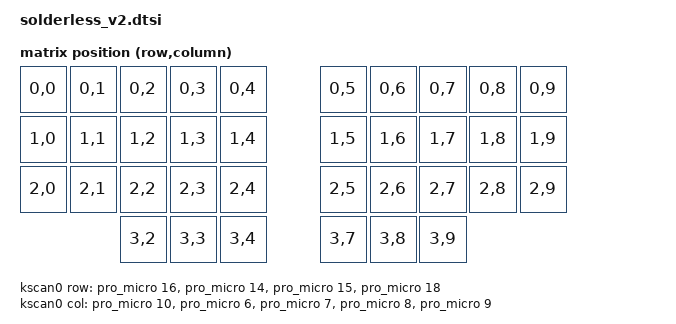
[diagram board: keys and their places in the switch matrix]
/*
 * Copyright (c) 2020 The ZMK Contributors
 *
 * SPDX-License-Identifier: MIT
 */

#include <dt-bindings/led/led.h>
#include <dt-bindings/zmk/matrix_transform.h>

/ {

	chosen {
		zmk,kscan = &kscan0;
		zmk,matrix_transform = &default_transform;
		zmk,underglow = &led_strip;
        zephyr,display = &nice_view;
	};

	default_transform: keymap_transform_0 {
		compatible = "zmk,matrix-transform";
		columns = <10>;
		rows = <4>;
		map = <
		RC(0,0)  RC(0,1)  RC(0,2)  RC(0,3)  RC(0,4)    RC(0,5) RC(0,6) RC(0,7) RC(0,8) RC(0,9)
		RC(1,0)  RC(1,1)  RC(1,2)  RC(1,3)  RC(1,4)    RC(1,5) RC(1,6) RC(1,7) RC(1,8) RC(1,9)
		RC(2,0)  RC(2,1)  RC(2,2)  RC(2,3)  RC(2,4)    RC(2,5) RC(2,6) RC(2,7) RC(2,8) RC(2,9)
		                  RC(3,2)  RC(3,3)  RC(3,4)    RC(3,7) RC(3,8) RC(3,9)
		>;
	};

	kscan0: kscan_0 {
        compatible = "zmk,kscan-gpio-matrix";
        label = "KSCAN";
        
        diode-direction = "col2row"; 
        row-gpios
            = <&pro_micro 16 (GPIO_ACTIVE_HIGH | GPIO_PULL_DOWN)>
            , <&pro_micro 14 (GPIO_ACTIVE_HIGH | GPIO_PULL_DOWN)>
            , <&pro_micro 15 (GPIO_ACTIVE_HIGH | GPIO_PULL_DOWN)>
            , <&pro_micro 18 (GPIO_ACTIVE_HIGH | GPIO_PULL_DOWN)>
            ;

        col-gpios
	        = <&pro_micro 10 GPIO_ACTIVE_HIGH>
	        , <&pro_micro 6 GPIO_ACTIVE_HIGH>
	        , <&pro_micro 7 GPIO_ACTIVE_HIGH>
	        , <&pro_micro 8 GPIO_ACTIVE_HIGH>
	        , <&pro_micro 9 GPIO_ACTIVE_HIGH>
        	;
    };
};

&pinctrl {
    spi0_default: spi0_default {
        group1 {
            psels = <NRF_PSEL(SPIM_SCK, 0, 8)>,
                <NRF_PSEL(SPIM_MOSI, 0, 6)>,
                <NRF_PSEL(SPIM_MISO, 0, 20)>;
        };
    };
    spi0_sleep: spi0_sleep {
        group1 {
            psels = <NRF_PSEL(SPIM_SCK, 0, 8)>,
                <NRF_PSEL(SPIM_MOSI, 0, 6)>,
                <NRF_PSEL(SPIM_MISO, 0, 20)>;
            low-power-enable;
        };
    };
    spi3_default: spi3_default {
        group1 {
            psels = <NRF_PSEL(SPIM_MOSI, 0, 24)>;
        };
    };

    spi3_sleep: spi3_sleep {
        group1 {
            psels = <NRF_PSEL(SPIM_MOSI, 0, 24)>;
            low-power-enable;
        };
    };
};

&spi3 {
    compatible = "nordic,nrf-spim";
    status = "okay";

    pinctrl-0 = <&spi3_default>;
    pinctrl-1 = <&spi3_sleep>;
    pinctrl-names = "default", "sleep";

    led_strip: ws2812@0 {
        compatible = "worldsemi,ws2812-spi";

        /* SPI */
        reg = <0>;
        spi-max-frequency = <4000000>;

        /* WS2812 */
        chain-length = <18>; /* number of LEDs */
        spi-one-frame = <0x70>;
        spi-zero-frame = <0x40>;

        color-mapping = <LED_COLOR_ID_GREEN
                        LED_COLOR_ID_RED
                        LED_COLOR_ID_BLUE>;
    };
};

nice_view_spi: &spi0 {
    compatible = "nordic,nrf-spim";
    status = "okay";
    
    pinctrl-0 = <&spi0_default>;
    pinctrl-1 = <&spi0_sleep>;
    pinctrl-names = "default", "sleep";

	cs-gpios = <&gpio0 17 GPIO_ACTIVE_HIGH>;

    nice_view: ls0xx@0 {
        compatible = "sharp,ls0xx";
        spi-max-frequency = <1000000>;
        reg = <0>;
        width = <160>;
        height = <68>;
    };
};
